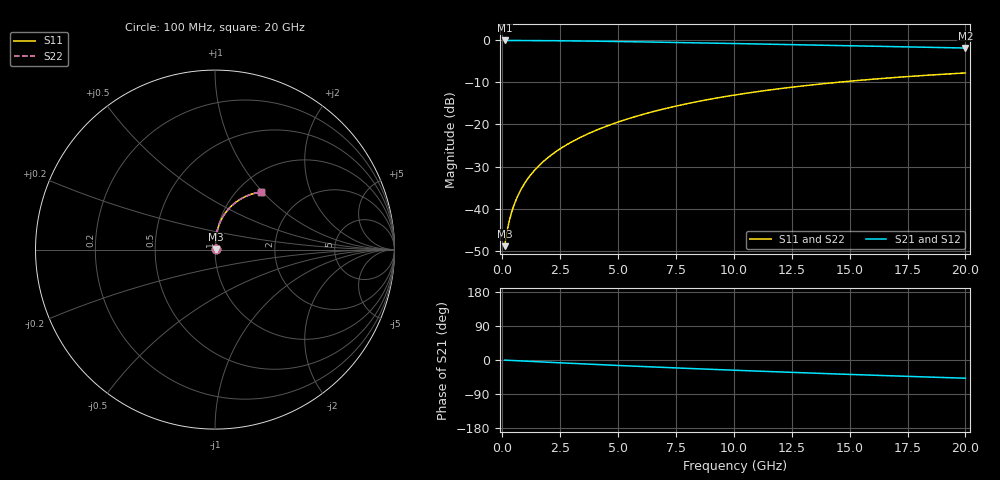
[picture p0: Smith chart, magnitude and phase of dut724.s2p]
! Touchstone file exported from HFSS 2024.1.0
!  File:  C:/UserFiles/LocalFiles/RDL_TSV_Batchsim/temp_RDL_top_724_1779850735.aedt
!  Generated:  11:01:44 AM May 27, 2026
!  Design:  RDL_top
!  Project:  temp_RDL_top_724_1779850735
!  Setup:  Setup1
!  Solution:  Sweep
! Variables:
!  dtsv = 10.80580581um
!  hbump = 3um
!  htsv = 82.02um
!  ldown = 100um
!  lrdl = 672um
!  p = 40
!  p1 = 58.44um
!  rhole = 1um
!  t = 450um
!  tdown = 3.915915916um
!  trdl = 3.68um
!  wdown = 15.38538539um
!  wrdl = 25.14um
# GHz S MA R 50.000000
! Terminal data exported
! Port[1] = Box2_T1
! Port[2] = Box2_T2
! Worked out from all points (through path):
!   200 points, 100 MHz to 20 GHz, reference 50 ohm
!   highest |S21| = -0.02 dB at 100 MHz (marker M1); lowest = -1.8 dB at 20 GHz (marker M2)
!   group delay of S21, straight-line fit = 6.61 ps
!   lowest |S11| = -48.9 dB at 100 MHz (marker M3), VSWR 1.01, Z = 50.3 + j0.225 ohm
!   |S11| at or under -10 dB: start of sweep to 14.43 GHz
!   |S22| runs from -48.9 to -7.8 dB; largest |S21 - S12| = 4.2e-15
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0.1  0.003577 38.7  0.9972 -0.3  0.9972 -0.3  0.003577 38.7
! Gamma 0 0 0 0
! Port Impedance 50 0 50 0
0.2  0.005276 55.9  0.997 -0.6  0.997 -0.6  0.005276 55.9
0.3  0.007125 64.1  0.9968 -0.9  0.9968 -0.9  0.007125 64.1
0.4  0.009003 68.9  0.9966 -1.2  0.9966 -1.2  0.009003 68.9
0.5  0.0109 72.2  0.9964 -1.5  0.9964 -1.5  0.0109 72.2
0.6  0.01282 74.6  0.9962 -1.8  0.9962 -1.8  0.01282 74.6
0.8  0.0167 77.9  0.9957 -2.4  0.9957 -2.4  0.0167 77.9
1.1  0.02264 80.7  0.9949 -3.3  0.9949 -3.3  0.02264 80.7
1.5  0.0307 82.7  0.9936 -4.5  0.9936 -4.5  0.0307 82.7
1.8  0.03684 83.6  0.9923 -5.4  0.9923 -5.4  0.03684 83.6
2.1  0.04305 84.1  0.9909 -6.3  0.9909 -6.3  0.04305 84.1
2.7  0.05571 84.6  0.9874 -8.0  0.9874 -8.0  0.05571 84.6
3.5  0.07306 84.5  0.9818 -10.3  0.9818 -10.3  0.07306 84.5
4.2  0.08867 84.0  0.9761 -12.3  0.9761 -12.3  0.08866 84.0
5  0.1069 83.1  0.969 -14.4  0.969 -14.4  0.1069 83.1
6.8  0.1489 80.0  0.9512 -19.2  0.9512 -19.2  0.1489 80.0
8.4  0.1865 76.7  0.9343 -23.1  0.9343 -23.1  0.1865 76.7
10.1  0.2254 72.9  0.9159 -27.2  0.9159 -27.2  0.2254 72.9
11.7  0.2606 69.2  0.8985 -30.9  0.8985 -30.9  0.2606 69.2
13.4  0.2959 65.4  0.88 -34.6  0.88 -34.6  0.2959 65.4
16.7  0.3576 58.2  0.8446 -41.6  0.8446 -41.6  0.3576 58.2
20  0.4097 51.5  0.8106 -48.1  0.8106 -48.1  0.4097 51.5
